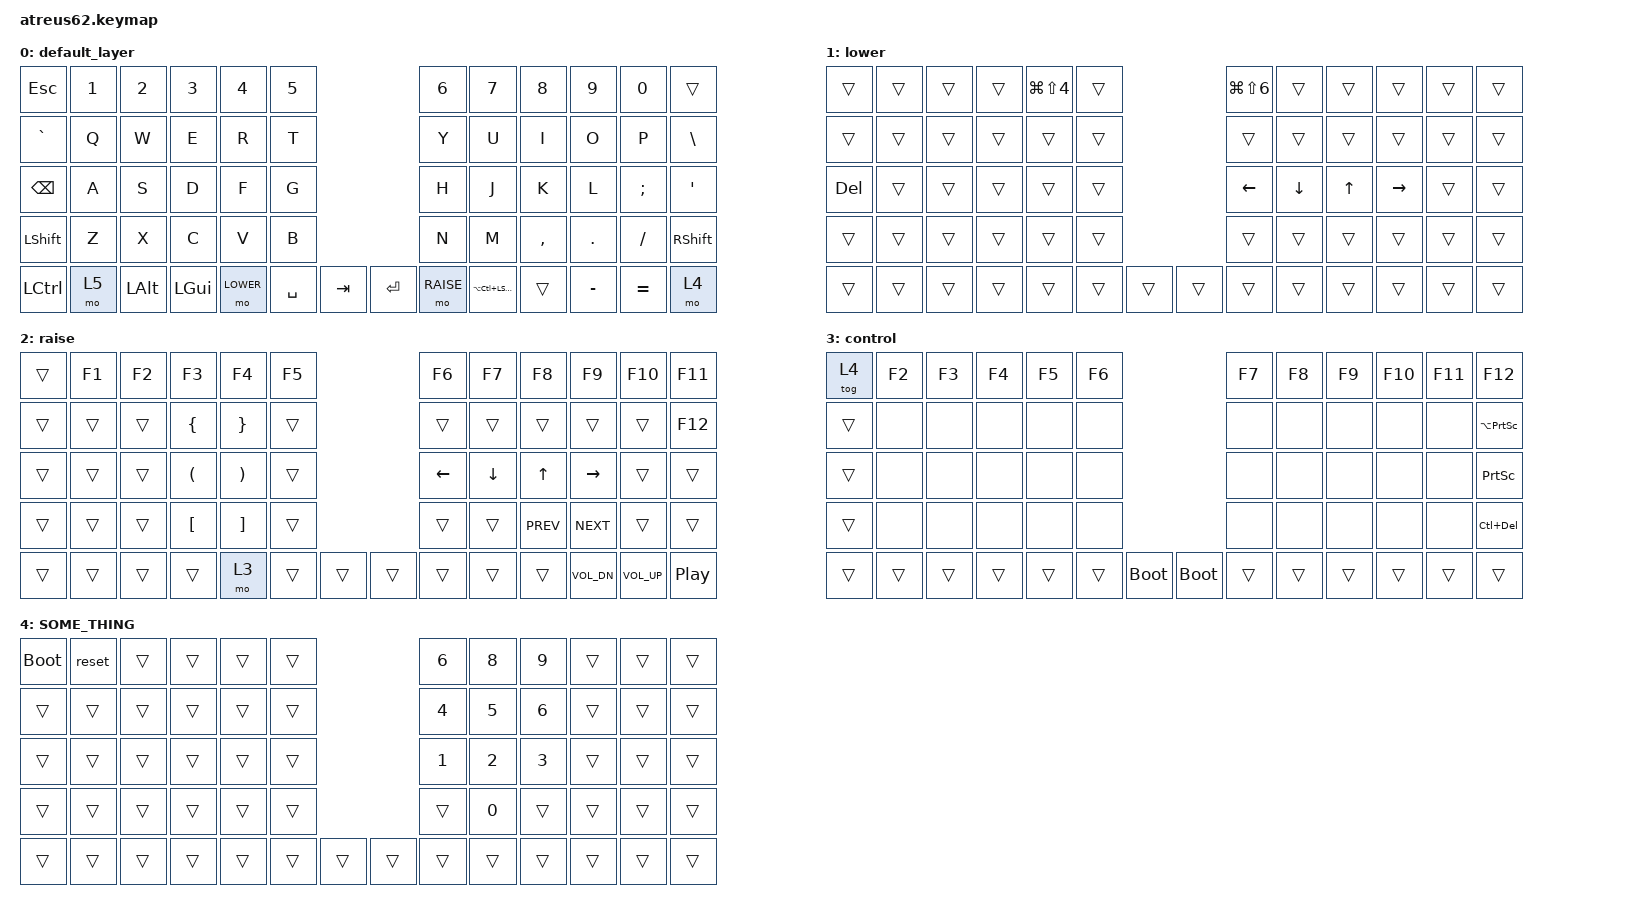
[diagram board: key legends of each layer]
/*
 * Copyright (c) 2022 The ZMK Contributors
 *
 * SPDX-License-Identifier: MIT
 */

#include <behaviors.dtsi>
#include <dt-bindings/zmk/keys.h>
#include <dt-bindings/zmk/bt.h>
#include <dt-bindings/zmk/outputs.h>

#define NONE 0
#define LOWER 1
#define RAISE 2
#define SOME_THING 4 // need to update this layer what should this be called??
#define MEDIA 5
#define FUNC 6

/ {
    keymap {
        compatible = "zmk,keymap";

        default_layer {
            // ----------------------------------------------------------------------------------------------------------
            // |  ESC  |  1   |  2   |  3   |  4   |  5     |-------|-------|   6   |  7    |  8   |  9   |   0   |   |
            // |  TAB  |  Q   |  W   |  E   |  R   |  T     |-------|-------|   Y   |  U    |  I   |  O   |   P   |  \    |
            // | BSPC  |  A   |  S   |  D   |  F   |  G     |-------|-------|   H   |  J    |  K   |  L   |   ;   |  '    |
            // | SHIFT |  Z   |  X   |  C   |  V   |  B     |-------|-------|   N   |  M    |  ,   |  .   |   /   | ENTER |
            // |  CTRL |  Fn  | LALT | LGUI | RAIS | SPACE  | TAB   | ENTER |  LOWR |  MEH  |      |  -   |   =   |-------|
            bindings = <
                &kp ESC    &kp N1 &kp N2   &kp N3   &kp N4     &kp N5                    &kp N6     &kp N7            &kp N8    &kp N9    &kp N0    &trans
                &kp GRAVE  &kp Q  &kp W    &kp E    &kp R      &kp T                     &kp Y      &kp U             &kp I     &kp O     &kp P     &kp BSLH
                &kp BSPC   &kp A  &kp S    &kp D    &kp F      &kp G                     &kp H      &kp J             &kp K     &kp L     &kp SEMI  &kp SQT
                &kp LSHFT  &kp Z  &kp X    &kp C    &kp V      &kp B                     &kp N      &kp M             &kp COMMA &kp DOT   &kp FSLH  &kp RSHIFT
                &kp LCTRL  &mo 5  &kp LALT &kp LGUI &mo LOWER  &kp SPACE &kp TAB &kp RET &mo RAISE  &kp LA(LC(LSHFT)) &trans    &kp MINUS &kp EQUAL &mo 4
            >;
        };

        lower {
            // ----------------------------------------------------------------------------------------------------------------------------
            // |       |        |        |        | SCRSHT |        |-------|-------|  GIFOX |        |        |        |        |        |
            // |       |        |        |        |        |        |-------|-------|        |        |        |        |        |        |
            // |  DEL  |        |        |        |        |        |-------|-------|  LEFT  |  DOWN  |  UP    |  RIGHT |        |        |
            // |       |        |        |        |        |        |-------|-------|        |        |        |        |        |        |
            // |       |        |        |        |        |        |       |       |        |        |        |        |        |        |
            bindings = <
                &trans     &trans  &trans  &trans  &kp LG(LS(N4)) &trans                  &kp LG(LS(N6))  &trans    &trans    &trans     &trans    &trans
                &trans     &trans  &trans  &trans  &trans         &trans                  &trans          &trans    &trans    &trans     &trans    &trans
                &kp DEL    &trans  &trans  &trans  &trans         &trans                  &kp LEFT        &kp DOWN  &kp UP    &kp RIGHT  &trans    &trans
                &trans     &trans  &trans  &trans  &trans         &trans                  &trans          &trans    &trans    &trans     &trans    &trans
                &trans     &trans  &trans  &trans  &trans         &trans  &trans  &trans  &trans          &trans    &trans    &trans     &trans    &trans
            >;
        };

        raise {
            // ----------------------------------------------------------------------------------------------------------------------------
            // |       |   F1   |   F2   |   F3   |   F4   |   F5   |-------|-------|   F6   |   F7   |   F8   |   F9   |   F10  |   F11  |
            // |       |        |        |   {    |   }    |        |-------|-------|        |        |        |        |        |   F12  |
            // |       |        |        |   (    |   )    |        |-------|-------|  LEFT  |  DOWN  |  UP    |  RIGHT |        |        |
            // |       |        |        |   [    |   ]    |        |-------|-------|        |        |  PREV  |  NEXT  |        |        |
            // |       |        |        |        |        |        |       |       |        |        |        |  VOL-  |  VOL+  |  PLAY  |
            bindings = <
                &trans  &kp F1  &kp F2  &kp F3   &kp F4   &kp F5               &kp F6     &kp F7    &kp F8     &kp F9       &kp F10      &kp F11
                &trans  &trans  &trans  &kp LBRC &kp RBRC &trans               &trans     &trans    &trans     &trans       &trans       &kp F12
                &trans  &trans  &trans  &kp LPAR &kp RPAR &trans               &kp LEFT   &kp DOWN  &kp UP     &kp RIGHT    &trans       &trans
                &trans  &trans  &trans  &kp LBKT &kp RBKT &trans               &trans     &trans    &kp C_PREV &kp C_NEXT   &trans       &trans
                &trans  &trans  &trans  &trans   &mo 3    &trans &trans &trans &trans     &trans    &trans     &kp C_VOL_DN &kp C_VOL_UP &kp C_PP
            >;
        };

        control {
            // ----------------------------------------------------------------------------------------------------------
            // |tog(4)|  F2  |  F3  |  F4  |  F5  |  F6  |------|------|  F7  |  F8  |  F9  |  F10 |  F11 |    F12    |
            // |      |  NA  |  NA  |  NA  |  NA  |  NA  |------|------|  NA  |  NA  |  NA  |  NA  |  NA  |LALT(PRTSN)|
            // |      |  NA  |  NA  |  NA  |  NA  |  NA  |------|------|  NA  |  NA  |  NA  |  NA  |  NA  |   PRTSN   |
            // |      |  NA  |  NA  |  NA  |  NA  |  NA  |------|------|  NA  |  NA  |  NA  |  NA  |  NA  |LCTRL(DEL) |
            // |      |      |      |      |      |      |BOOTLD|BOOTLD|      |      |      |      |      |-----------|
            bindings = <
                &tog 4 &kp F2 &kp F3 &kp F4 &kp F5 &kp F6                         &kp F7 &kp F8 &kp F9 &kp F10 &kp F11 &kp F12
                &trans &none  &none  &none  &none  &none                          &none  &none  &none  &none   &none   &kp LA(PSCRN)
                &trans &none  &none  &none  &none  &none                          &none  &none  &none  &none   &none   &kp PSCRN
                &trans &none  &none  &none  &none  &none                          &none  &none  &none  &none   &none   &kp LC(DEL)
                &trans &trans &trans &trans &trans &trans &bootloader &bootloader &trans &trans &trans &trans  &trans  &trans
            >;
        };

        SOME_THING {
            bindings = <
                &bootloader &reset  &trans  &trans  &trans  &trans                  &kp N6  &kp N8  &kp N9  &trans &trans &trans
                &trans      &trans  &trans  &trans  &trans  &trans                  &kp N4  &kp N5  &kp N6  &trans &trans &trans
                &trans      &trans  &trans  &trans  &trans  &trans                  &kp N1  &kp N2  &kp N3  &trans &trans &trans
                &trans      &trans  &trans  &trans  &trans  &trans                  &trans  &kp N0  &trans  &trans &trans &trans
                &trans      &trans  &trans  &trans  &trans  &trans  &trans  &trans  &trans  &trans  &trans  &trans &trans &trans

            >;
        };
/*
        flock {
            // ----------------------------------------------------------------------------------------------------------------------------
            // |       |        |        |        |        |        |-------|-------|        |        |        |        |        |        |
            // |       |        |        |        |        |        |-------|-------|        |        |        |        |        |        |
            // |       |        |        |        |        |        |-------|-------|        |        |        |        |        |        |
            // |       |        |        |        |        |        |-------|-------|        |        |        |        |        |        |
            // |       |        |        |        |        |        |       |       |        |        |        |        |        |        |
            bindings = <
                &tog 4       &kp F2       &kp F3       &kp F4       &kp F5       &kp F6                     &kp F7     &kp F8     &kp F9     &kp F10 &kp F11 &trans
                &out OUT_TOG &bt BT_SEL 0 &bt BT_SEL 1 &bt BT_SEL 2 &bt BT_SEL 3 &bt BT_SEL 4               &bt BT_PRV &bt BT_NXT &bt BT_CLR &trans  &trans  &trans
                &trans       &trans       &trans       &trans       &trans       &trans                     &trans     &trans     &trans     &trans  &trans  &trans
                &trans       &trans       &trans       &trans       &trans       &trans                     &trans     &trans     &trans     &trans  &trans  &trans
                &trans       &trans       &trans       &trans       &trans       &trans       &trans &trans &trans     &trans     &trans     &trans  &trans  &trans
            >;
        };*/
    };
};

            // ----------------------------------------------------------------------------------------------------------------------------
            // |       |        |        |        |        |        |-------|-------|        |        |        |        |        |        |
            // |       |        |        |        |        |        |-------|-------|        |        |        |        |        |        |
            // |       |        |        |        |        |        |-------|-------|        |        |        |        |        |        |
            // |       |        |        |        |        |        |-------|-------|        |        |        |        |        |        |
            // |       |        |        |        |        |        |       |       |        |        |        |        |        |        |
